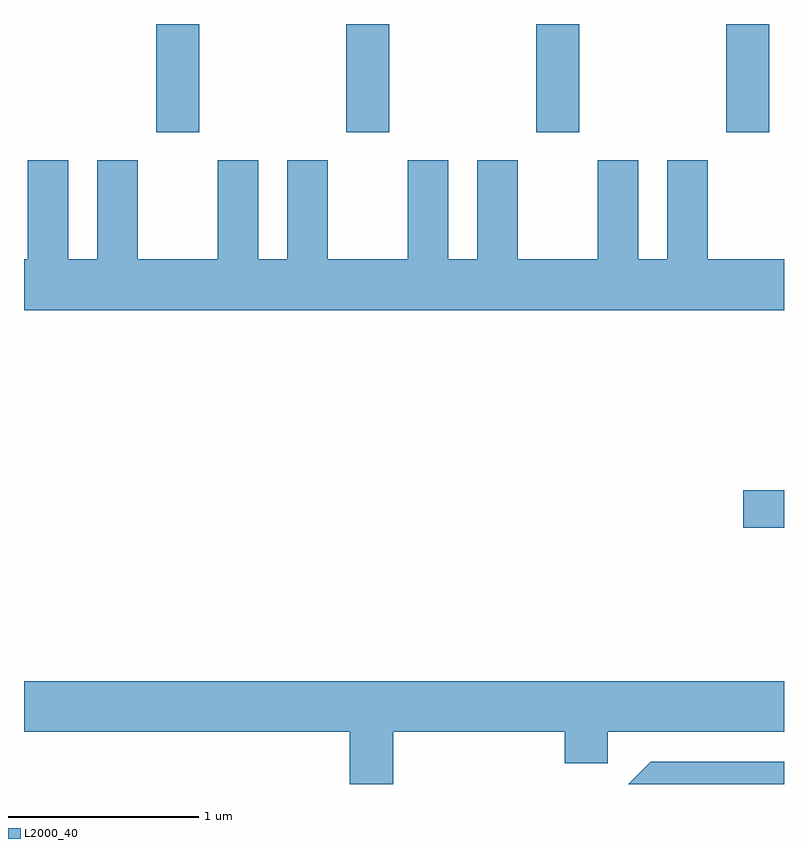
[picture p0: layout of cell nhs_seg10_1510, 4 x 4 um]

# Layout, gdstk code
import gdstk
lib = gdstk.Library(unit=1e-6, precision=1e-09)
def R(c, l, rs):  # rectangles x0, y0, x1, y1
    for r in rs: c.add(gdstk.rectangle(r[:2], r[2:], *l))
def A(c, l, x, y, w, h, nx, ny, dx, dy):  # array of equal rectangles
    R(c, l, [(x+i*dx, y+j*dy, x+i*dx+w, y+j*dy+h) for i in range(nx) for j in range(ny)])
def P(c, l, *ps):  # polygons
    for p in ps: c.add(gdstk.Polygon(p, *l))
L2000_40 = (2000, 40)

nhs_seg10_1510 = lib.new_cell('nhs_seg10_1510')
A(nhs_seg10_1510, L2000_40, 230.306, 2125.951, 0.228, 0.571, 4, 1, 1, 0)
R(nhs_seg10_1510, L2000_40, [(233.396,2123.871,233.611,2124.069)])
P(nhs_seg10_1510, L2000_40, [(233.611,2125.284),(233.209,2125.284),(233.209,2125.804),(232.996,2125.804),(232.996,2125.284),(232.844,2125.284),(232.844,2125.804),(232.631,2125.804),(232.631,2125.284),(232.209,2125.284),(232.209,2125.804),(231.996,2125.804),(231.996,2125.284),(231.844,2125.284),(231.844,2125.804),(231.631,2125.804),(231.631,2125.284),(231.209,2125.284),(231.209,2125.804),(230.996,2125.804),(230.996,2125.284),(230.844,2125.284),(230.844,2125.804),(230.631,2125.804),(230.631,2125.284),(230.209,2125.284),(230.209,2125.804),(229.996,2125.804),(229.996,2125.284),(229.844,2125.284),(229.844,2125.804),(229.631,2125.804),(229.631,2125.284),(229.611,2125.284),(229.611,2125.016),(233.611,2125.016)],
  [(231.554,2122.796),(232.456,2122.796),(232.456,2122.631),(232.684,2122.631),(232.684,2122.796),(233.611,2122.796),(233.611,2123.064),(229.611,2123.064),(229.611,2122.796),(231.326,2122.796),(231.326,2122.522),(231.554,2122.522)],
  [(233.611,2122.639),(232.909,2122.639),(232.792,2122.522),(233.611,2122.522)])

lib.write_gds('nhs_seg10_1510.gds')
